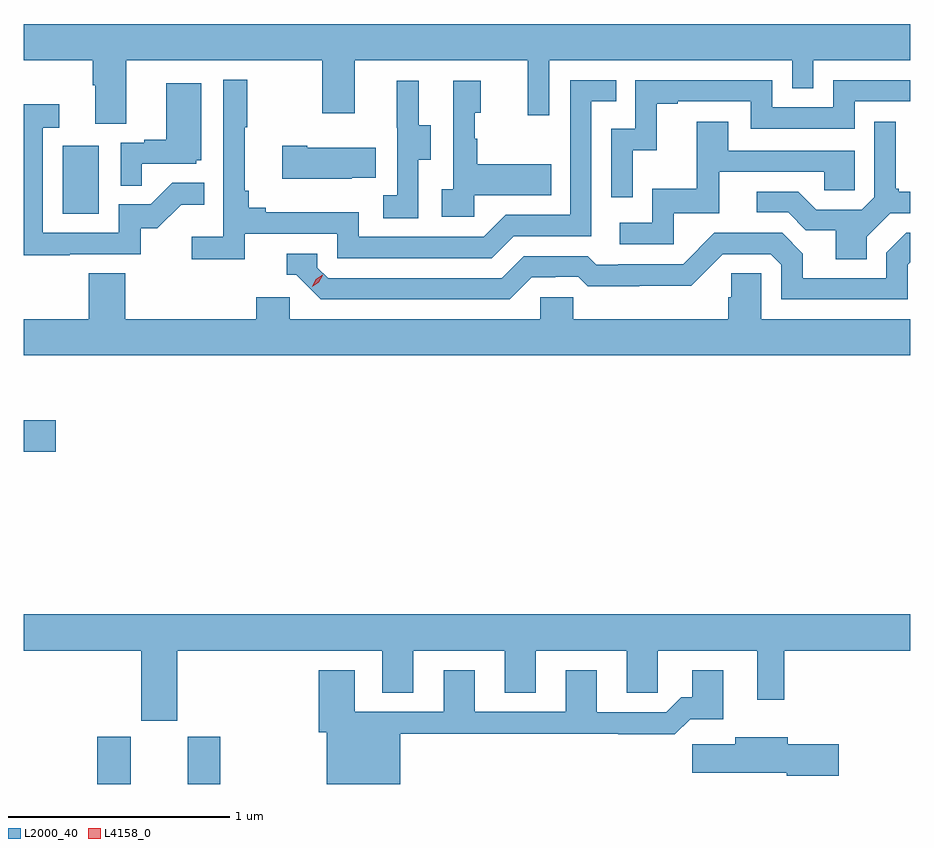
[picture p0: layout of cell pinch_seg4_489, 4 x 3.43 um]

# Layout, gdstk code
import gdstk
lib = gdstk.Library(unit=1e-6, precision=1e-09)
def R(c, l, rs):  # rectangles x0, y0, x1, y1
    for r in rs: c.add(gdstk.rectangle(r[:2], r[2:], *l))
def P(c, l, *ps):  # polygons
    for p in ps: c.add(gdstk.Polygon(p, *l))
L2000_40 = (2000, 40)
L4158_0 = (4158, 0)

pinch_seg4_489 = lib.new_cell('pinch_seg4_489')
R(pinch_seg4_489, L2000_40, [(938.258,762.918,938.41,763.131), (938.666,762.918,938.814,763.131), (937.927,764.417,938.071,764.559), (938.102,765.492,938.266,765.799)])
P(pinch_seg4_489, L2000_40, [(938.389,766.184),(939.274,766.184),(939.274,765.945),(939.421,765.945),(939.421,766.184),(940.202,766.184),(940.202,765.936),(940.299,765.936),(940.299,766.184),(941.394,766.184),(941.394,766.057),(941.49,766.057),(941.49,766.184),(941.927,766.184),(941.927,766.348),(937.927,766.348),(937.927,766.184),(938.237,766.184),(938.237,766.072),(938.249,766.072),(938.249,765.898),(938.389,765.898)],
  [(938.924,765.402),(939.342,765.402),(939.342,765.291),(940.039,765.291),(940.138,765.39),(940.488,765.39),(940.488,765.999),(940.601,765.999),(940.601,766.095),(940.392,766.095),(940.392,765.486),(940.101,765.486),(940.002,765.387),(939.438,765.387),(939.438,765.499),(939.019,765.499),(939.019,765.518),(938.942,765.518),(938.942,765.595),(938.923,765.595),(938.923,765.883),(938.935,765.883),(938.935,766.096),(938.826,766.096),(938.826,765.388),(938.685,765.388),(938.685,765.286),(938.924,765.286)],
  [(940.674,765.779),(940.784,765.779),(940.784,765.987),(940.879,765.987),(940.879,765.999),(941.208,765.999),(941.208,765.876),(941.676,765.876),(941.676,765.999),(941.927,765.999),(941.927,766.095),(941.58,766.095),(941.58,765.972),(941.304,765.972),(941.304,766.095),(940.686,766.095),(940.686,765.876),(940.578,765.876),(940.578,765.567),(940.674,765.567)],
  [(939.708,765.736),(939.763,765.736),(939.763,765.891),(939.709,765.891),(939.709,766.093),(939.611,766.093),(939.611,765.879),(939.612,765.879),(939.612,765.575),(939.549,765.575),(939.549,765.472),(939.708,765.472)],
  [(939.96,765.575),(940.307,765.575),(940.307,765.715),(939.973,765.715),(939.973,765.83),(939.963,765.83),(939.963,765.948),(939.988,765.948),(939.988,766.093),(939.864,766.093),(939.864,765.602),(939.813,765.602),(939.813,765.477),(939.96,765.477)],
  [(938.459,765.717),(938.706,765.717),(938.706,765.732),(938.728,765.732),(938.728,766.081),(938.57,766.081),(938.57,765.826),(938.471,765.826),(938.471,765.813),(938.364,765.813),(938.364,765.619),(938.459,765.619)],
  [(938.135,765.309),(938.454,765.309),(938.454,765.426),(938.53,765.426),(938.637,765.533),(938.741,765.533),(938.741,765.632),(938.597,765.632),(938.499,765.534),(938.355,765.534),(938.355,765.405),(938.013,765.405),(938.013,765.879),(938.086,765.879),(938.086,765.985),(937.927,765.985),(937.927,765.304),(938.135,765.304)],
  [(940.86,765.495),(941.065,765.495),(941.065,765.681),(941.539,765.681),(941.539,765.597),(941.676,765.597),(941.676,765.777),(941.107,765.777),(941.107,765.907),(940.963,765.907),(940.963,765.604),(940.764,765.604),(940.764,765.45),(940.617,765.45),(940.617,765.354),(940.86,765.354)],
  [(941.731,765.388),(941.838,765.495),(941.927,765.495),(941.927,765.592),(941.875,765.592),(941.875,765.604),(941.863,765.604),(941.863,765.907),(941.766,765.907),(941.766,765.567),(941.709,765.51),(941.503,765.51),(941.422,765.591),(941.235,765.591),(941.235,765.498),(941.376,765.498),(941.456,765.418),(941.591,765.418),(941.591,765.286),(941.731,765.286)],
  [(939.407,765.653),(939.515,765.653),(939.515,765.79),(939.205,765.79),(939.205,765.798),(939.093,765.798),(939.093,765.65),(939.407,765.65)],
  [(940.219,765.204),(940.326,765.204),(940.326,765.207),(940.429,765.207),(940.471,765.165),(940.704,765.165),(940.704,765.167),(940.94,765.167),(941.082,765.309),(941.298,765.309),(941.346,765.261),(941.346,765.105),(941.916,765.105),(941.916,765.261),(941.927,765.272),(941.927,765.405),(941.91,765.405),(941.82,765.315),(941.82,765.201),(941.443,765.201),(941.443,765.311),(941.349,765.405),(941.043,765.405),(940.902,765.264),(940.609,765.264),(940.609,765.261),(940.51,765.261),(940.471,765.3),(940.182,765.3),(940.083,765.201),(939.3,765.201),(939.252,765.249),(939.252,765.312),(939.113,765.312),(939.113,765.216),(939.156,765.216),(939.267,765.105),(940.12,765.105)],
  [(941.927,765.016),(941.256,765.016),(941.256,765.224),(941.119,765.224),(941.119,765.114),(941.105,765.114),(941.105,765.016),(940.407,765.016),(940.407,765.114),(940.257,765.114),(940.257,765.016),(939.126,765.016),(939.126,765.114),(938.975,765.114),(938.975,765.016),(938.384,765.016),(938.384,765.224),(938.219,765.224),(938.219,765.016),(937.927,765.016),(937.927,764.852),(941.927,764.852)],
  [(938.62,763.52),(939.545,763.52),(939.545,763.33),(939.685,763.33),(939.685,763.52),(940.097,763.52),(940.097,763.33),(940.237,763.33),(940.237,763.52),(940.649,763.52),(940.649,763.33),(940.788,763.33),(940.788,763.52),(941.237,763.52),(941.237,763.299),(941.359,763.299),(941.359,763.52),(941.927,763.52),(941.927,763.684),(937.927,763.684),(937.927,763.52),(938.456,763.52),(938.456,763.203),(938.62,763.203)],
  [(939.625,763.144),(940.609,763.144),(940.609,763.142),(940.865,763.142),(940.934,763.211),(941.083,763.211),(941.083,763.432),(940.943,763.432),(940.943,763.309),(940.894,763.309),(940.827,763.242),(940.513,763.242),(940.513,763.432),(940.373,763.432),(940.373,763.245),(939.961,763.245),(939.961,763.432),(939.821,763.432),(939.821,763.245),(939.421,763.245),(939.421,763.432),(939.257,763.432),(939.257,763.152),(939.293,763.152),(939.293,762.918),(939.625,762.918)],
  [(941.605,763.098),(941.374,763.098),(941.374,763.129),(941.138,763.129),(941.138,763.097),(940.944,763.097),(940.944,762.968),(941.37,762.968),(941.37,762.956),(941.605,762.956)])
P(pinch_seg4_489, L4158_0, [(939.229,765.163),(939.229,765.163),(939.244,765.196),(939.275,765.216),(939.275,765.216),(939.275,765.215),(939.259,765.183),(939.229,765.163)])

lib.write_gds('pinch_seg4_489.gds')
